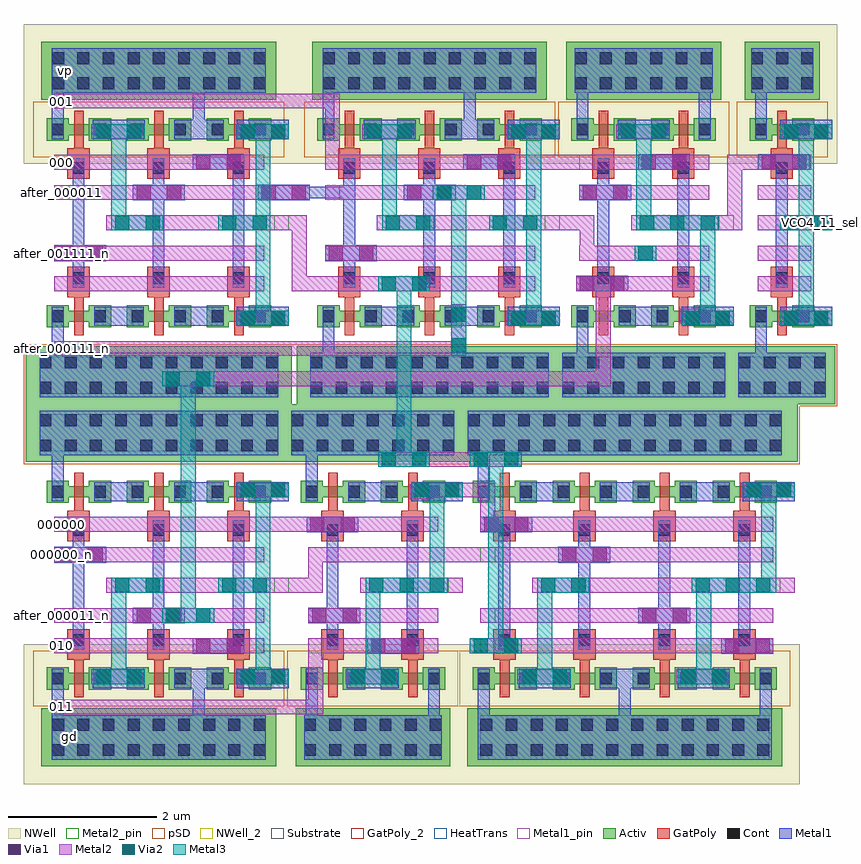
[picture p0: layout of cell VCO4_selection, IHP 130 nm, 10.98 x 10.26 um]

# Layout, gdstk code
from math import pi, radians
import gdstk
lib = gdstk.Library(unit=1e-6, precision=1e-09)
def R(c, l, rs):  # rectangles x0, y0, x1, y1
    for r in rs: c.add(gdstk.rectangle(r[:2], r[2:], *l))
def A(c, l, x, y, w, h, nx, ny, dx, dy):  # array of equal rectangles
    R(c, l, [(x+i*dx, y+j*dy, x+i*dx+w, y+j*dy+h) for i in range(nx) for j in range(ny)])
Activ = (1, 0)
GatPoly = (5, 0)
GatPoly_2 = (5, 2)
Cont = (6, 0)
Metal1 = (8, 0)
Metal1_pin = (8, 2)
Metal2 = (10, 0)
Metal2_pin = (10, 2)
pSD = (14, 0)
Via1 = (19, 0)
Via2 = (29, 0)
Metal3 = (30, 0)
NWell = (31, 0)
NWell_2 = (31, 2)
Substrate = (40, 0)
HeatTrans = (51, 0)

via_4 = lib.new_cell('Via$4')
R(via_4, Metal2, [(-0.1,-0.35,0.1,0.35)])
R(via_4, Via2, [(-0.095,-0.3,0.095,-0.11), (-0.095,0.11,0.095,0.3)])
R(via_4, Metal3, [(-0.1,-0.35,0.1,0.35)])

via_2 = lib.new_cell('Via$2')
R(via_2, Metal1, [(-0.105,-0.35,0.105,0.35)])
R(via_2, Metal2, [(-0.1,-0.35,0.1,0.35)])
R(via_2, Via1, [(-0.095,-0.3,0.095,-0.11), (-0.095,0.11,0.095,0.3)])

ntap1 = lib.new_cell('ntap1')
R(ntap1, Activ, [(0,0,2.09,0.78)])
A(ntap1, Cont, 0.115, 0.14, 0.16, 0.16, 6, 2, 0.34, 0.34)
R(ntap1, Metal1, [(0.115,0.09,1.975,0.69)])
R(ntap1, Metal1_pin, [(0.115,0.09,1.975,0.69), (0.115,0.14,1.975,0.64)])
R(ntap1, NWell, [(-0.24,-0.24,2.33,1.02), (0,0,2.09,0.78)])
R(ntap1, NWell_2, [(0,0,2.09,0.78)])
ntap1.add(gdstk.Label('well', (1.045,0.01), layer=63, texttype=0))
ntap1.add(gdstk.Label('well', (1.045,0.01), layer=31, texttype=0))

ptap1 = lib.new_cell('ptap1')
R(ptap1, Activ, [(0,0,2.51,0.78)])
A(ptap1, Cont, 0.155, 0.14, 0.16, 0.16, 7, 2, 0.34, 0.34)
R(ptap1, Metal1, [(0.155,0.09,2.355,0.69), (0.155,0.14,2.355,0.64)])
R(ptap1, Metal1_pin, [(0.155,0.14,2.355,0.64)])
R(ptap1, pSD, [(-0.03,-0.03,2.54,0.81)])
R(ptap1, Substrate, [(0,0,2.51,0.78)])
ptap1.add(gdstk.Label('sub!', (1.255,0.01), layer=63, texttype=0))
ptap1.add(gdstk.Label('sub!', (1.255,0.01), layer=40, texttype=0))

nmos = lib.new_cell('nmos')
R(nmos, Activ, [(0,0,0.3,0.3), (0.57,0,0.87,0.3), (0,0.075,0.87,0.225)])
R(nmos, GatPoly, [(0.37,-0.105,0.5,0.405)])
R(nmos, GatPoly_2, [(0.37,-0.105,0.5,0.405)])
R(nmos, Cont, [(0.07,0.07,0.23,0.23), (0.64,0.07,0.8,0.23)])
R(nmos, Metal1, [(0.07,0.02,0.23,0.28), (0.64,0.02,0.8,0.28)])
R(nmos, Metal1_pin, [(0.07,0.02,0.23,0.28), (0.64,0.02,0.8,0.28)])
R(nmos, HeatTrans, [(0.37,-0.105,0.5,0.405)])
nmos.add(gdstk.Label('nmos', (0.435,0.15), layer=63, texttype=0))
nmos.add(gdstk.Label('nmos', (0.435,0.15), layer=51, texttype=0))

pmos = lib.new_cell('pmos')
R(pmos, Activ, [(0,0,0.3,0.3), (0.57,0,0.87,0.3), (0,0.075,0.87,0.225)])
R(pmos, GatPoly, [(0.37,-0.105,0.5,0.405), (0.37,-0.105,0.5,0.405)])
R(pmos, Cont, [(0.07,0.07,0.23,0.23), (0.64,0.07,0.8,0.23)])
R(pmos, Metal1, [(0.07,0.02,0.23,0.28), (0.07,0.02,0.23,0.28), (0.64,0.02,0.8,0.28), (0.64,0.02,0.8,0.28)])
R(pmos, pSD, [(-0.18,-0.225,1.05,0.525)])
R(pmos, NWell, [(-0.31,-0.31,1.18,0.61)])
R(pmos, Substrate, [(0.57,0,0.87,0.3)])
R(pmos, HeatTrans, [(0.37,-0.105,0.5,0.405)])
pmos.add(gdstk.Label('pmos', (0.435,0.15), layer=63, texttype=0))
pmos.add(gdstk.Label('pmos', (0.435,0.15), layer=51, texttype=0))

via = lib.new_cell('Via')
R(via, GatPoly, [(-0.15,-0.15,0.15,0.15)])
R(via, Cont, [(-0.08,-0.08,0.08,0.08)])
R(via, Metal1, [(-0.13,-0.08,0.13,0.08)])

via_7 = lib.new_cell('Via$7')
R(via_7, Metal2, [(-0.555,-0.1,0.555,0.1)])
A(via_7, Via2, -0.505, -0.095, 0.19, 0.19, 3, 1, 0.41, 0)
R(via_7, Metal3, [(-0.555,-0.1,0.555,0.1)])

via_6 = lib.new_cell('Via$6')
R(via_6, Metal1, [(-0.35,-0.105,0.35,0.105)])
R(via_6, Metal2, [(-0.35,-0.1,0.35,0.1)])
R(via_6, Via1, [(-0.3,-0.095,-0.11,0.095), (0.11,-0.095,0.3,0.095)])

nand_2in = lib.new_cell('NAND_2in')
R(nand_2in, GatPoly, [(9.375,7.165,9.675,7.275), (10.455,7.165,10.755,7.275), (9.375,9.065,9.675,9.175), (10.455,9.065,10.755,9.175)])
R(nand_2in, Metal1, [(9.735,6.78,10.405,7.04), (10.585,6.78,11.285,7.04), (9.72,9.3,10.42,9.56)])
R(nand_2in, Metal1_pin, [(9.16,6.015,9.36,6.215), (9.325,10.12,9.525,10.32)])
R(nand_2in, Metal2_pin, [(11.085,8.07,11.285,8.27), (9.2,8.48,9.4,8.68), (9.2,8.89,9.4,9.09)])
nand_2in.add(gdstk.FlexPath([(9.245,9.56),(9.245,10.525)], 0.16, ends="flush", simple_path=True, layer=8, datatype=0))  # Metal1
nand_2in.add(gdstk.FlexPath([(10.895,9.56),(10.895,10.525)], 0.16, ends="flush", simple_path=True, layer=8, datatype=0))  # Metal1
nand_2in.add(gdstk.FlexPath([(9.245,6.78),(9.245,6.415)], 0.16, ends="flush", simple_path=True, layer=8, datatype=0))  # Metal1
nand_2in.add(gdstk.FlexPath([(9.525,7.555),(9.525,8.785)], 0.16, ends="flush", simple_path=True, layer=8, datatype=0))  # Metal1
nand_2in.add(gdstk.FlexPath([(10.605,7.555),(10.605,8.785)], 0.16, ends="flush", simple_path=True, layer=8, datatype=0))  # Metal1
nand_2in.add(gdstk.FlexPath([(9.9,8.17),(11.285,8.17)], 0.2, ends="flush", simple_path=True, layer=10, datatype=0))  # Metal2
nand_2in.add(gdstk.FlexPath([(10.895,6.91),(10.565,6.91)], 0.2, ends="flush", simple_path=True, layer=10, datatype=0))  # Metal2
nand_2in.add(gdstk.FlexPath([(9.865,9.405),(9.7,9.405)], 0.2, ends="flush", simple_path=True, layer=10, datatype=0))  # Metal2
nand_2in.add(gdstk.FlexPath([(10.43,8.58),(10.43,8.58)], 0.2, ends="flush", simple_path=True, layer=10, datatype=0))  # Metal2
nand_2in.add(gdstk.FlexPath([(9.2,8.99),(10.955,8.99)], 0.2, ends="flush", simple_path=True, layer=10, datatype=0))  # Metal2
nand_2in.add(gdstk.FlexPath([(9.2,8.58),(10.955,8.58)], 0.2, ends="flush", simple_path=True, layer=10, datatype=0))  # Metal2
nand_2in.add(gdstk.FlexPath([(9.2,7.76),(10.955,7.76)], 0.2, ends="flush", simple_path=True, layer=10, datatype=0))  # Metal2
nand_2in.add(gdstk.FlexPath([(9.2,7.35),(10.955,7.35)], 0.2, ends="flush", simple_path=True, layer=10, datatype=0))  # Metal2
nand_2in.add(gdstk.FlexPath([(10.07,9.305),(10.07,8.07)], 0.2, ends="flush", simple_path=True, layer=30, datatype=0))  # Metal3
nand_2in.add(gdstk.FlexPath([(10.935,6.885),(10.935,8.07)], 0.2, ends="flush", simple_path=True, layer=30, datatype=0))  # Metal3
nand_2in.add(gdstk.Reference(via_4, (10.935,6.885), rotation=3*pi/2))
nand_2in.add(gdstk.Reference(via_2, (10.935,6.885), rotation=3*pi/2))
nand_2in.add(gdstk.Reference(ntap1, (9.025,9.835)))
nand_2in.add(gdstk.Reference(ptap1, (8.815,5.725)))
nand_2in.add(gdstk.Reference(nmos, (10.175,6.76)))
nand_2in.add(gdstk.Reference(pmos, (10.175,9.28)))
nand_2in.add(gdstk.Reference(nmos, (9.095,6.76)))
nand_2in.add(gdstk.Reference(pmos, (9.095,9.28)))
nand_2in.add(gdstk.Reference(via, (9.525,8.915), rotation=pi/2))
nand_2in.add(gdstk.Reference(via, (10.605,8.915), rotation=pi/2))
nand_2in.add(gdstk.Reference(via, (10.605,7.425), rotation=3*pi/2))
nand_2in.add(gdstk.Reference(via, (9.525,7.425), rotation=3*pi/2))
nand_2in.add(gdstk.Reference(via_2, (9.55,8.58), rotation=3*pi/2))
nand_2in.add(gdstk.Reference(via_7, (10.525,8.17)))
nand_2in.add(gdstk.Reference(via_2, (10.07,9.405), rotation=3*pi/2))
nand_2in.add(gdstk.Reference(via_4, (10.07,9.405), rotation=3*pi/2))
nand_2in.add(gdstk.Reference(via_6, (10.345,8.99)))
nand_2in.add(gdstk.Label('y', (11.185,8.17), layer=10, texttype=25))
nand_2in.add(gdstk.Label('b', (9.315,8.575), layer=10, texttype=25))
nand_2in.add(gdstk.Label('a', (9.3,8.99), layer=10, texttype=25))
nand_2in.add(gdstk.Label('VP', (9.295,10.22), layer=8, texttype=25))
nand_2in.add(gdstk.Label('GND', (9.26,6.115), layer=8, texttype=25))

ntap1_1 = lib.new_cell('ntap1$1')
R(ntap1_1, Activ, [(0,0,3.17,0.78)])
A(ntap1_1, Cont, 0.145, 0.14, 0.16, 0.16, 9, 2, 0.34, 0.34)
R(ntap1_1, Metal1, [(0.145,0.09,3.025,0.69)])
R(ntap1_1, Metal1_pin, [(0.145,0.09,3.025,0.69), (0.145,0.14,3.025,0.64)])
R(ntap1_1, NWell, [(-0.24,-0.24,3.41,1.02), (0,0,3.17,0.78)])
R(ntap1_1, NWell_2, [(0,0,3.17,0.78)])
ntap1_1.add(gdstk.Label('well', (1.585,0.01), layer=63, texttype=0))
ntap1_1.add(gdstk.Label('well', (1.585,0.01), layer=31, texttype=0))

ptap1_1 = lib.new_cell('ptap1$1')
R(ptap1_1, Activ, [(0,0,3.59,0.78)])
A(ptap1_1, Cont, 0.185, 0.14, 0.16, 0.16, 10, 2, 0.34, 0.34)
R(ptap1_1, Metal1, [(0.185,0.09,3.405,0.69), (0.185,0.14,3.405,0.64)])
R(ptap1_1, Metal1_pin, [(0.185,0.14,3.405,0.64)])
R(ptap1_1, pSD, [(-0.03,-0.03,3.62,0.81)])
R(ptap1_1, Substrate, [(0,0,3.59,0.78)])
ptap1_1.add(gdstk.Label('sub!', (1.795,0.01), layer=63, texttype=0))
ptap1_1.add(gdstk.Label('sub!', (1.795,0.01), layer=40, texttype=0))

nmos_1 = lib.new_cell('nmos$1')
R(nmos_1, Activ, [(0,0,0.3,0.3), (0.57,0,0.87,0.3), (0,0.075,0.87,0.225)])
R(nmos_1, GatPoly, [(0.37,-0.105,0.5,0.405)])
R(nmos_1, GatPoly_2, [(0.37,-0.105,0.5,0.405)])
R(nmos_1, Cont, [(0.07,0.07,0.23,0.23), (0.64,0.07,0.8,0.23)])
R(nmos_1, Metal1, [(0.07,0.02,0.23,0.28), (0.64,0.02,0.8,0.28)])
R(nmos_1, Metal1_pin, [(0.07,0.02,0.23,0.28), (0.64,0.02,0.8,0.28)])
R(nmos_1, HeatTrans, [(0.37,-0.105,0.5,0.405)])
nmos_1.add(gdstk.Label('nmos', (0.435,0.15), layer=63, texttype=0))
nmos_1.add(gdstk.Label('nmos', (0.435,0.15), layer=51, texttype=0))

pmos_1 = lib.new_cell('pmos$1')
R(pmos_1, Activ, [(0,0,0.3,0.3), (0.57,0,0.87,0.3), (0,0.075,0.87,0.225)])
R(pmos_1, GatPoly, [(0.37,-0.105,0.5,0.405), (0.37,-0.105,0.5,0.405)])
R(pmos_1, Cont, [(0.07,0.07,0.23,0.23), (0.64,0.07,0.8,0.23)])
R(pmos_1, Metal1, [(0.07,0.02,0.23,0.28), (0.07,0.02,0.23,0.28), (0.64,0.02,0.8,0.28), (0.64,0.02,0.8,0.28)])
R(pmos_1, pSD, [(-0.18,-0.225,1.05,0.525)])
R(pmos_1, NWell, [(-0.31,-0.31,1.18,0.61)])
R(pmos_1, Substrate, [(0.57,0,0.87,0.3)])
R(pmos_1, HeatTrans, [(0.37,-0.105,0.5,0.405)])
pmos_1.add(gdstk.Label('pmos', (0.435,0.15), layer=63, texttype=0))
pmos_1.add(gdstk.Label('pmos', (0.435,0.15), layer=51, texttype=0))

via_8 = lib.new_cell('Via$8')
R(via_8, GatPoly, [(-0.15,-0.15,0.15,0.15)])
R(via_8, Cont, [(-0.08,-0.08,0.08,0.08)])
R(via_8, Metal1, [(-0.13,-0.08,0.13,0.08)])

via_2_1 = lib.new_cell('Via$2$1')
R(via_2_1, Metal1, [(-0.105,-0.35,0.105,0.35)])
R(via_2_1, Metal2, [(-0.1,-0.35,0.1,0.35)])
R(via_2_1, Via1, [(-0.095,-0.3,0.095,-0.11), (-0.095,0.11,0.095,0.3)])

via_8_1 = lib.new_cell('Via$8$1')
R(via_8_1, Metal2, [(-0.35,-0.1,0.35,0.1)])
R(via_8_1, Via2, [(-0.3,-0.095,-0.11,0.095), (0.11,-0.095,0.3,0.095)])
R(via_8_1, Metal3, [(-0.35,-0.1,0.35,0.1)])

via_4_1 = lib.new_cell('Via$4$1')
R(via_4_1, Metal2, [(-0.1,-0.35,0.1,0.35)])
R(via_4_1, Via2, [(-0.095,-0.3,0.095,-0.11), (-0.095,0.11,0.095,0.3)])
R(via_4_1, Metal3, [(-0.1,-0.35,0.1,0.35)])

via_6_1 = lib.new_cell('Via$6$1')
R(via_6_1, Metal1, [(-0.35,-0.105,0.35,0.105)])
R(via_6_1, Metal2, [(-0.35,-0.1,0.35,0.1)])
R(via_6_1, Via1, [(-0.3,-0.095,-0.11,0.095), (0.11,-0.095,0.3,0.095)])

nand_3in = lib.new_cell('NAND_3in')
A(nand_3in, GatPoly, 9.375, 7.165, 0.3, 0.11, 3, 2, 1.08, 1.9)
R(nand_3in, Metal1, [(9.735,6.78,10.405,7.04), (10.815,6.78,11.485,7.04), (11.665,6.78,12.365,7.04), (9.72,9.3,10.42,9.56), (10.815,9.3,11.485,9.56), (11.665,9.3,12.365,9.56)])
R(nand_3in, Metal1_pin, [(9.16,6.015,9.36,6.215), (9.325,10.12,9.525,10.32)])
R(nand_3in, Metal2_pin, [(9.2,7.66,9.4,7.86), (12.165,8.07,12.365,8.27), (9.2,8.48,9.4,8.68), (9.2,8.89,9.4,9.09)])
nand_3in.add(gdstk.FlexPath([(11.685,7.555),(11.685,8.785)], 0.16, ends="flush", simple_path=True, layer=8, datatype=0))  # Metal1
nand_3in.add(gdstk.FlexPath([(11.15,9.56),(11.15,9.925)], 0.16, ends="flush", simple_path=True, layer=8, datatype=0))  # Metal1
nand_3in.add(gdstk.FlexPath([(9.245,9.56),(9.245,10.525)], 0.16, ends="flush", simple_path=True, layer=8, datatype=0))  # Metal1
nand_3in.add(gdstk.FlexPath([(9.245,6.78),(9.245,6.415)], 0.16, ends="flush", simple_path=True, layer=8, datatype=0))  # Metal1
nand_3in.add(gdstk.FlexPath([(9.525,7.555),(9.525,8.785)], 0.16, ends="flush", simple_path=True, layer=8, datatype=0))  # Metal1
nand_3in.add(gdstk.FlexPath([(10.605,7.555),(10.605,8.785)], 0.16, ends="flush", simple_path=True, layer=8, datatype=0))  # Metal1
nand_3in.add(gdstk.FlexPath([(9.9,8.17),(12.365,8.17)], 0.2, ends="flush", simple_path=True, layer=10, datatype=0))  # Metal2
nand_3in.add(gdstk.FlexPath([(11.81,9.405),(11.645,9.405)], 0.2, ends="flush", simple_path=True, layer=10, datatype=0))  # Metal2
nand_3in.add(gdstk.FlexPath([(11.81,6.885),(11.645,6.885)], 0.2, ends="flush", simple_path=True, layer=10, datatype=0))  # Metal2
nand_3in.add(gdstk.FlexPath([(9.2,7.76),(12.035,7.76)], 0.2, ends="flush", simple_path=True, layer=10, datatype=0))  # Metal2
nand_3in.add(gdstk.FlexPath([(9.2,7.35),(12.035,7.35)], 0.2, ends="flush", simple_path=True, layer=10, datatype=0))  # Metal2
nand_3in.add(gdstk.FlexPath([(9.2,8.99),(12.035,8.99)], 0.2, ends="flush", simple_path=True, layer=10, datatype=0))  # Metal2
nand_3in.add(gdstk.FlexPath([(9.2,8.58),(12.035,8.58)], 0.2, ends="flush", simple_path=True, layer=10, datatype=0))  # Metal2
nand_3in.add(gdstk.FlexPath([(9.865,9.405),(9.7,9.405)], 0.2, ends="flush", simple_path=True, layer=10, datatype=0))  # Metal2
nand_3in.add(gdstk.FlexPath([(10.43,8.58),(10.43,8.58)], 0.2, ends="flush", simple_path=True, layer=10, datatype=0))  # Metal2
nand_3in.add(gdstk.FlexPath([(12.015,6.885),(12.015,8.17)], 0.2, ends="flush", simple_path=True, layer=30, datatype=0))  # Metal3
nand_3in.add(gdstk.FlexPath([(12.015,9.405),(12.015,8.17)], 0.2, ends="flush", simple_path=True, layer=30, datatype=0))  # Metal3
nand_3in.add(gdstk.FlexPath([(10.07,9.305),(10.07,8.07)], 0.2, ends="flush", simple_path=True, layer=30, datatype=0))  # Metal3
nand_3in.add(gdstk.Reference(ntap1_1, (9.025,9.835)))
nand_3in.add(gdstk.Reference(ptap1_1, (8.815,5.725)))
nand_3in.add(gdstk.Reference(nmos_1, (10.175,6.76)))
nand_3in.add(gdstk.Reference(pmos_1, (10.175,9.28)))
nand_3in.add(gdstk.Reference(nmos_1, (9.095,6.76)))
nand_3in.add(gdstk.Reference(pmos_1, (9.095,9.28)))
nand_3in.add(gdstk.Reference(via_8, (9.525,8.915), rotation=pi/2))
nand_3in.add(gdstk.Reference(via_8, (10.605,8.915), rotation=pi/2))
nand_3in.add(gdstk.Reference(via_8, (10.605,7.425), rotation=3*pi/2))
nand_3in.add(gdstk.Reference(via_8, (9.525,7.425), rotation=3*pi/2))
nand_3in.add(gdstk.Reference(via_2_1, (10.61,8.58), rotation=3*pi/2))
nand_3in.add(gdstk.Reference(via_8_1, (10.32,8.17)))
nand_3in.add(gdstk.Reference(via_2_1, (10.07,9.405), rotation=3*pi/2))
nand_3in.add(gdstk.Reference(via_4_1, (10.07,9.405), rotation=3*pi/2))
nand_3in.add(gdstk.Reference(via_6_1, (11.415,8.99)))
nand_3in.add(gdstk.Reference(pmos_1, (11.255,9.28)))
nand_3in.add(gdstk.Reference(nmos_1, (11.255,6.76)))
nand_3in.add(gdstk.Reference(via_8, (11.685,8.915), rotation=pi/2))
nand_3in.add(gdstk.Reference(via_8, (11.685,7.425), rotation=3*pi/2))
nand_3in.add(gdstk.Reference(via_2_1, (9.55,7.76), rotation=3*pi/2))
nand_3in.add(gdstk.Reference(via_2_1, (12.015,9.405), rotation=3*pi/2))
nand_3in.add(gdstk.Reference(via_4_1, (12.015,9.405), rotation=3*pi/2))
nand_3in.add(gdstk.Reference(via_2_1, (12.015,6.885), rotation=3*pi/2))
nand_3in.add(gdstk.Reference(via_4_1, (12.015,6.885), rotation=3*pi/2))
nand_3in.add(gdstk.Reference(via_8_1, (11.765,8.17)))
nand_3in.add(gdstk.Label('c', (9.315,7.755), layer=10, texttype=25))
nand_3in.add(gdstk.Label('y', (12.265,8.17), layer=10, texttype=25))
nand_3in.add(gdstk.Label('b', (9.315,8.575), layer=10, texttype=25))
nand_3in.add(gdstk.Label('a', (9.3,8.99), layer=10, texttype=25))
nand_3in.add(gdstk.Label('VP', (9.295,10.22), layer=8, texttype=25))
nand_3in.add(gdstk.Label('GND', (9.26,6.115), layer=8, texttype=25))

ntap1_2 = lib.new_cell('ntap1$2')
R(ntap1_2, Activ, [(0,0,4.25,0.78)])
A(ntap1_2, Cont, 0.175, 0.14, 0.16, 0.16, 12, 2, 0.34, 0.34)
R(ntap1_2, Metal1, [(0.175,0.09,4.075,0.69)])
R(ntap1_2, Metal1_pin, [(0.175,0.09,4.075,0.69), (0.175,0.14,4.075,0.64)])
R(ntap1_2, NWell, [(-0.24,-0.24,4.49,1.02), (0,0,4.25,0.78)])
R(ntap1_2, NWell_2, [(0,0,4.25,0.78)])
ntap1_2.add(gdstk.Label('well', (2.125,0.01), layer=63, texttype=0))
ntap1_2.add(gdstk.Label('well', (2.125,0.01), layer=31, texttype=0))

ptap1_2 = lib.new_cell('ptap1$2')
R(ptap1_2, Activ, [(0,0,4.67,0.78)])
A(ptap1_2, Cont, 0.215, 0.14, 0.16, 0.16, 13, 2, 0.34, 0.34)
R(ptap1_2, Metal1, [(0.215,0.09,4.455,0.69), (0.215,0.14,4.455,0.64)])
R(ptap1_2, Metal1_pin, [(0.215,0.14,4.455,0.64)])
R(ptap1_2, pSD, [(-0.03,-0.03,4.7,0.81)])
R(ptap1_2, Substrate, [(0,0,4.67,0.78)])
ptap1_2.add(gdstk.Label('sub!', (2.335,0.01), layer=63, texttype=0))
ptap1_2.add(gdstk.Label('sub!', (2.335,0.01), layer=40, texttype=0))

nmos_2 = lib.new_cell('nmos$2')
R(nmos_2, Activ, [(0,0,0.3,0.3), (0.57,0,0.87,0.3), (0,0.075,0.87,0.225)])
R(nmos_2, GatPoly, [(0.37,-0.105,0.5,0.405)])
R(nmos_2, GatPoly_2, [(0.37,-0.105,0.5,0.405)])
R(nmos_2, Cont, [(0.07,0.07,0.23,0.23), (0.64,0.07,0.8,0.23)])
R(nmos_2, Metal1, [(0.07,0.02,0.23,0.28), (0.64,0.02,0.8,0.28)])
R(nmos_2, Metal1_pin, [(0.07,0.02,0.23,0.28), (0.64,0.02,0.8,0.28)])
R(nmos_2, HeatTrans, [(0.37,-0.105,0.5,0.405)])
nmos_2.add(gdstk.Label('nmos', (0.435,0.15), layer=63, texttype=0))
nmos_2.add(gdstk.Label('nmos', (0.435,0.15), layer=51, texttype=0))

pmos_2 = lib.new_cell('pmos$2')
R(pmos_2, Activ, [(0,0,0.3,0.3), (0.57,0,0.87,0.3), (0,0.075,0.87,0.225)])
R(pmos_2, GatPoly, [(0.37,-0.105,0.5,0.405), (0.37,-0.105,0.5,0.405)])
R(pmos_2, Cont, [(0.07,0.07,0.23,0.23), (0.64,0.07,0.8,0.23)])
R(pmos_2, Metal1, [(0.07,0.02,0.23,0.28), (0.07,0.02,0.23,0.28), (0.64,0.02,0.8,0.28), (0.64,0.02,0.8,0.28)])
R(pmos_2, pSD, [(-0.18,-0.225,1.05,0.525)])
R(pmos_2, NWell, [(-0.31,-0.31,1.18,0.61)])
R(pmos_2, Substrate, [(0.57,0,0.87,0.3)])
R(pmos_2, HeatTrans, [(0.37,-0.105,0.5,0.405)])
pmos_2.add(gdstk.Label('pmos', (0.435,0.15), layer=63, texttype=0))
pmos_2.add(gdstk.Label('pmos', (0.435,0.15), layer=51, texttype=0))

via_9 = lib.new_cell('Via$9')
R(via_9, GatPoly, [(-0.15,-0.15,0.15,0.15)])
R(via_9, Cont, [(-0.08,-0.08,0.08,0.08)])
R(via_9, Metal1, [(-0.13,-0.08,0.13,0.08)])

via_2_2 = lib.new_cell('Via$2$2')
R(via_2_2, Metal1, [(-0.105,-0.35,0.105,0.35)])
R(via_2_2, Metal2, [(-0.1,-0.35,0.1,0.35)])
R(via_2_2, Via1, [(-0.095,-0.3,0.095,-0.11), (-0.095,0.11,0.095,0.3)])

via_8_2 = lib.new_cell('Via$8$2')
R(via_8_2, Metal2, [(-0.35,-0.1,0.35,0.1)])
R(via_8_2, Via2, [(-0.3,-0.095,-0.11,0.095), (0.11,-0.095,0.3,0.095)])
R(via_8_2, Metal3, [(-0.35,-0.1,0.35,0.1)])

via_4_2 = lib.new_cell('Via$4$2')
R(via_4_2, Metal2, [(-0.1,-0.35,0.1,0.35)])
R(via_4_2, Via2, [(-0.095,-0.3,0.095,-0.11), (-0.095,0.11,0.095,0.3)])
R(via_4_2, Metal3, [(-0.1,-0.35,0.1,0.35)])

via_6_2 = lib.new_cell('Via$6$2')
R(via_6_2, Metal1, [(-0.35,-0.105,0.35,0.105)])
R(via_6_2, Metal2, [(-0.35,-0.1,0.35,0.1)])
R(via_6_2, Via1, [(-0.3,-0.095,-0.11,0.095), (0.11,-0.095,0.3,0.095)])

via_9_1 = lib.new_cell('Via$9$1')
R(via_9_1, Metal2, [(-0.555,-0.1,0.555,0.1)])
A(via_9_1, Via2, -0.505, -0.095, 0.19, 0.19, 3, 1, 0.41, 0)
R(via_9_1, Metal3, [(-0.555,-0.1,0.555,0.1)])

nand_4in = lib.new_cell('NAND_4in')
A(nand_4in, GatPoly, 9.375, 7.165, 0.3, 0.11, 4, 2, 1.08, 1.9)
A(nand_4in, Metal1, 9.735, 6.78, 0.67, 0.26, 3, 1, 1.08, 0)
R(nand_4in, Metal1, [(12.745,6.78,13.445,7.04), (9.72,9.3,10.42,9.56), (10.815,9.3,11.485,9.56), (11.865,9.3,12.565,9.56)])
R(nand_4in, Metal1_pin, [(9.16,6.015,9.36,6.215), (9.325,10.12,9.525,10.32)])
R(nand_4in, Metal2_pin, [(9.2,7.25,9.4,7.45), (9.2,7.66,9.4,7.86), (13.245,8.07,13.445,8.27), (9.2,8.48,9.4,8.68), (9.2,8.89,9.4,9.09)])
nand_4in.add(gdstk.FlexPath([(13.055,9.56),(13.055,10.525)], 0.16, ends="flush", simple_path=True, layer=8, datatype=0))  # Metal1
nand_4in.add(gdstk.FlexPath([(12.765,7.555),(12.765,8.785)], 0.16, ends="flush", simple_path=True, layer=8, datatype=0))  # Metal1
nand_4in.add(gdstk.FlexPath([(11.685,7.555),(11.685,8.785)], 0.16, ends="flush", simple_path=True, layer=8, datatype=0))  # Metal1
nand_4in.add(gdstk.FlexPath([(11.15,9.56),(11.15,9.925)], 0.16, ends="flush", simple_path=True, layer=8, datatype=0))  # Metal1
nand_4in.add(gdstk.FlexPath([(9.245,9.56),(9.245,10.525)], 0.16, ends="flush", simple_path=True, layer=8, datatype=0))  # Metal1
nand_4in.add(gdstk.FlexPath([(9.245,6.78),(9.245,6.415)], 0.16, ends="flush", simple_path=True, layer=8, datatype=0))  # Metal1
nand_4in.add(gdstk.FlexPath([(9.525,7.555),(9.525,8.785)], 0.16, ends="flush", simple_path=True, layer=8, datatype=0))  # Metal1
nand_4in.add(gdstk.FlexPath([(10.605,7.555),(10.605,8.785)], 0.16, ends="flush", simple_path=True, layer=8, datatype=0))  # Metal1
nand_4in.add(gdstk.FlexPath([(9.9,8.17),(13.445,8.17)], 0.2, ends="flush", simple_path=True, layer=10, datatype=0))  # Metal2
nand_4in.add(gdstk.FlexPath([(12.89,6.885),(12.725,6.885)], 0.2, ends="flush", simple_path=True, layer=10, datatype=0))  # Metal2
nand_4in.add(gdstk.FlexPath([(12.01,9.405),(11.845,9.405)], 0.2, ends="flush", simple_path=True, layer=10, datatype=0))  # Metal2
nand_4in.add(gdstk.FlexPath([(9.2,7.76),(13.155,7.76)], 0.2, ends="flush", simple_path=True, layer=10, datatype=0))  # Metal2
nand_4in.add(gdstk.FlexPath([(9.2,7.35),(13.155,7.35)], 0.2, ends="flush", simple_path=True, layer=10, datatype=0))  # Metal2
nand_4in.add(gdstk.FlexPath([(9.2,8.99),(13.155,8.99)], 0.2, ends="flush", simple_path=True, layer=10, datatype=0))  # Metal2
nand_4in.add(gdstk.FlexPath([(9.2,8.58),(13.155,8.58)], 0.2, ends="flush", simple_path=True, layer=10, datatype=0))  # Metal2
nand_4in.add(gdstk.FlexPath([(9.865,9.405),(9.7,9.405)], 0.2, ends="flush", simple_path=True, layer=10, datatype=0))  # Metal2
nand_4in.add(gdstk.FlexPath([(10.43,8.58),(10.43,8.58)], 0.2, ends="flush", simple_path=True, layer=10, datatype=0))  # Metal2
nand_4in.add(gdstk.FlexPath([(12.215,9.405),(12.215,8.07)], 0.2, ends="flush", simple_path=True, layer=30, datatype=0))  # Metal3
nand_4in.add(gdstk.FlexPath([(13.095,6.885),(13.095,8.27)], 0.2, ends="flush", simple_path=True, layer=30, datatype=0))  # Metal3
nand_4in.add(gdstk.FlexPath([(10.07,9.305),(10.07,8.07)], 0.2, ends="flush", simple_path=True, layer=30, datatype=0))  # Metal3
nand_4in.add(gdstk.Reference(ntap1_2, (9.025,9.835)))
nand_4in.add(gdstk.Reference(ptap1_2, (8.815,5.725)))
nand_4in.add(gdstk.Reference(nmos_2, (10.175,6.76)))
nand_4in.add(gdstk.Reference(pmos_2, (10.175,9.28)))
nand_4in.add(gdstk.Reference(nmos_2, (9.095,6.76)))
nand_4in.add(gdstk.Reference(pmos_2, (9.095,9.28)))
nand_4in.add(gdstk.Reference(via_9, (9.525,8.915), rotation=pi/2))
nand_4in.add(gdstk.Reference(via_9, (10.605,8.915), rotation=pi/2))
nand_4in.add(gdstk.Reference(via_9, (10.605,7.425), rotation=3*pi/2))
nand_4in.add(gdstk.Reference(via_9, (9.525,7.425), rotation=3*pi/2))
nand_4in.add(gdstk.Reference(via_2_2, (11.685,8.58), rotation=3*pi/2))
nand_4in.add(gdstk.Reference(via_8_2, (10.32,8.17)))
nand_4in.add(gdstk.Reference(via_2_2, (10.07,9.405), rotation=3*pi/2))
nand_4in.add(gdstk.Reference(via_4_2, (10.07,9.405), rotation=3*pi/2))
nand_4in.add(gdstk.Reference(via_6_2, (12.805,8.99)))
nand_4in.add(gdstk.Reference(pmos_2, (11.255,9.28)))
nand_4in.add(gdstk.Reference(nmos_2, (11.255,6.76)))
nand_4in.add(gdstk.Reference(via_9, (11.685,8.915), rotation=pi/2))
nand_4in.add(gdstk.Reference(via_9, (11.685,7.425), rotation=3*pi/2))
nand_4in.add(gdstk.Reference(via_2_2, (10.605,7.76), rotation=3*pi/2))
nand_4in.add(gdstk.Reference(via_2_2, (12.215,9.405), rotation=3*pi/2))
nand_4in.add(gdstk.Reference(via_4_2, (12.215,9.405), rotation=3*pi/2))
nand_4in.add(gdstk.Reference(via_2_2, (13.095,6.885), rotation=3*pi/2))
nand_4in.add(gdstk.Reference(via_4_2, (13.095,6.885), rotation=3*pi/2))
nand_4in.add(gdstk.Reference(via_9_1, (12.61,8.17)))
nand_4in.add(gdstk.Reference(via_2_2, (9.55,7.35), rotation=3*pi/2))
nand_4in.add(gdstk.Reference(pmos_2, (12.335,9.28)))
nand_4in.add(gdstk.Reference(nmos_2, (12.335,6.76)))
nand_4in.add(gdstk.Reference(via_9, (12.765,8.915), rotation=pi/2))
nand_4in.add(gdstk.Reference(via_9, (12.765,7.425), rotation=3*pi/2))
nand_4in.add(gdstk.Label('d', (9.315,7.345), layer=10, texttype=25))
nand_4in.add(gdstk.Label('y', (13.345,8.17), layer=10, texttype=25))
nand_4in.add(gdstk.Label('c', (9.315,7.755), layer=10, texttype=25))
nand_4in.add(gdstk.Label('b', (9.315,8.575), layer=10, texttype=25))
nand_4in.add(gdstk.Label('a', (9.3,8.99), layer=10, texttype=25))
nand_4in.add(gdstk.Label('VP', (9.295,10.22), layer=8, texttype=25))
nand_4in.add(gdstk.Label('GND', (9.26,6.115), layer=8, texttype=25))

via_4_3 = lib.new_cell('Via$4$3')
R(via_4_3, Metal2, [(-0.1,-0.35,0.1,0.35)])
R(via_4_3, Via2, [(-0.095,-0.3,0.095,-0.11), (-0.095,0.11,0.095,0.3)])
R(via_4_3, Metal3, [(-0.1,-0.35,0.1,0.35)])

ntap1_3 = lib.new_cell('ntap1$3')
R(ntap1_3, Activ, [(0,0,1.01,0.78)])
A(ntap1_3, Cont, 0.085, 0.14, 0.16, 0.16, 3, 2, 0.34, 0.34)
R(ntap1_3, Metal1, [(0.085,0.09,0.925,0.69)])
R(ntap1_3, Metal1_pin, [(0.085,0.09,0.925,0.69), (0.085,0.14,0.925,0.64)])
R(ntap1_3, NWell, [(-0.24,-0.24,1.25,1.02), (0,0,1.01,0.78)])
R(ntap1_3, NWell_2, [(0,0,1.01,0.78)])
ntap1_3.add(gdstk.Label('well', (0.505,0.01), layer=63, texttype=0))
ntap1_3.add(gdstk.Label('well', (0.505,0.01), layer=31, texttype=0))

ptap1_3 = lib.new_cell('ptap1$3')
R(ptap1_3, Activ, [(0,0,1.43,0.78)])
A(ptap1_3, Cont, 0.125, 0.14, 0.16, 0.16, 4, 2, 0.34, 0.34)
R(ptap1_3, Metal1, [(0.125,0.09,1.305,0.69), (0.125,0.14,1.305,0.64)])
R(ptap1_3, Metal1_pin, [(0.125,0.14,1.305,0.64)])
R(ptap1_3, pSD, [(-0.03,-0.03,1.46,0.81)])
R(ptap1_3, Substrate, [(0,0,1.43,0.78)])
ptap1_3.add(gdstk.Label('sub!', (0.715,0.01), layer=63, texttype=0))
ptap1_3.add(gdstk.Label('sub!', (0.715,0.01), layer=40, texttype=0))

via_2_3 = lib.new_cell('Via$2$3')
R(via_2_3, Metal1, [(-0.105,-0.35,0.105,0.35)])
R(via_2_3, Metal2, [(-0.1,-0.35,0.1,0.35)])
R(via_2_3, Via1, [(-0.095,-0.3,0.095,-0.11), (-0.095,0.11,0.095,0.3)])

nmos_3 = lib.new_cell('nmos$3')
R(nmos_3, Activ, [(0,0,0.3,0.3), (0.57,0,0.87,0.3), (0,0.075,0.87,0.225)])
R(nmos_3, GatPoly, [(0.37,-0.105,0.5,0.405)])
R(nmos_3, GatPoly_2, [(0.37,-0.105,0.5,0.405)])
R(nmos_3, Cont, [(0.07,0.07,0.23,0.23), (0.64,0.07,0.8,0.23)])
R(nmos_3, Metal1, [(0.07,0.02,0.23,0.28), (0.64,0.02,0.8,0.28)])
R(nmos_3, Metal1_pin, [(0.07,0.02,0.23,0.28), (0.64,0.02,0.8,0.28)])
R(nmos_3, HeatTrans, [(0.37,-0.105,0.5,0.405)])
nmos_3.add(gdstk.Label('nmos', (0.435,0.15), layer=63, texttype=0))
nmos_3.add(gdstk.Label('nmos', (0.435,0.15), layer=51, texttype=0))

pmos_3 = lib.new_cell('pmos$3')
R(pmos_3, Activ, [(0,0,0.3,0.3), (0.57,0,0.87,0.3), (0,0.075,0.87,0.225)])
R(pmos_3, GatPoly, [(0.37,-0.105,0.5,0.405), (0.37,-0.105,0.5,0.405)])
R(pmos_3, Cont, [(0.07,0.07,0.23,0.23), (0.64,0.07,0.8,0.23)])
R(pmos_3, Metal1, [(0.07,0.02,0.23,0.28), (0.07,0.02,0.23,0.28), (0.64,0.02,0.8,0.28), (0.64,0.02,0.8,0.28)])
R(pmos_3, pSD, [(-0.18,-0.225,1.05,0.525)])
R(pmos_3, NWell, [(-0.31,-0.31,1.18,0.61)])
R(pmos_3, Substrate, [(0.57,0,0.87,0.3)])
R(pmos_3, HeatTrans, [(0.37,-0.105,0.5,0.405)])
pmos_3.add(gdstk.Label('pmos', (0.435,0.15), layer=63, texttype=0))
pmos_3.add(gdstk.Label('pmos', (0.435,0.15), layer=51, texttype=0))

via_10 = lib.new_cell('Via$10')
R(via_10, GatPoly, [(-0.15,-0.15,0.15,0.15)])
R(via_10, Cont, [(-0.08,-0.08,0.08,0.08)])
R(via_10, Metal1, [(-0.13,-0.08,0.13,0.08)])

via_7_1 = lib.new_cell('Via$7$1')
R(via_7_1, Metal2, [(-0.35,-0.1,0.35,0.1)])
R(via_7_1, Via2, [(-0.3,-0.095,-0.11,0.095), (0.11,-0.095,0.3,0.095)])
R(via_7_1, Metal3, [(-0.35,-0.1,0.35,0.1)])

inverter = lib.new_cell('inverter')
R(inverter, GatPoly, [(9.375,7.165,9.675,7.275), (9.375,9.065,9.675,9.175)])
R(inverter, Metal1, [(9.505,6.78,10.205,7.04), (9.505,9.3,10.205,9.56)])
R(inverter, Metal1_pin, [(9.16,6.015,9.36,6.215), (9.325,10.12,9.525,10.32)])
R(inverter, Metal2_pin, [(10.005,8.07,10.205,8.27), (9.2,8.89,9.4,9.09)])
inverter.add(gdstk.FlexPath([(9.245,9.56),(9.245,10.525)], 0.16, ends="flush", simple_path=True, layer=8, datatype=0))  # Metal1
inverter.add(gdstk.FlexPath([(9.245,6.78),(9.245,6.415)], 0.16, ends="flush", simple_path=True, layer=8, datatype=0))  # Metal1
inverter.add(gdstk.FlexPath([(9.525,7.555),(9.525,8.785)], 0.16, ends="flush", simple_path=True, layer=8, datatype=0))  # Metal1
inverter.add(gdstk.FlexPath([(9.65,9.405),(9.485,9.405)], 0.2, ends="flush", simple_path=True, layer=10, datatype=0))  # Metal2
inverter.add(gdstk.FlexPath([(9.65,6.885),(9.485,6.885)], 0.2, ends="flush", simple_path=True, layer=10, datatype=0))  # Metal2
inverter.add(gdstk.FlexPath([(9.2,8.99),(9.92,8.99)], 0.2, ends="flush", simple_path=True, layer=10, datatype=0))  # Metal2
inverter.add(gdstk.FlexPath([(9.2,8.58),(9.92,8.58)], 0.2, ends="flush", simple_path=True, layer=10, datatype=0))  # Metal2
inverter.add(gdstk.FlexPath([(9.2,7.76),(9.92,7.76)], 0.2, ends="flush", simple_path=True, layer=10, datatype=0))  # Metal2
inverter.add(gdstk.FlexPath([(9.2,7.35),(9.92,7.35)], 0.2, ends="flush", simple_path=True, layer=10, datatype=0))  # Metal2
inverter.add(gdstk.FlexPath([(9.2,8.17),(10.205,8.17)], 0.2, ends="flush", simple_path=True, layer=10, datatype=0))  # Metal2
inverter.add(gdstk.FlexPath([(9.855,6.885),(9.855,8.17)], 0.2, ends="flush", simple_path=True, layer=30, datatype=0))  # Metal3
inverter.add(gdstk.FlexPath([(9.855,9.405),(9.855,8.17)], 0.2, ends="flush", simple_path=True, layer=30, datatype=0))  # Metal3
inverter.add(gdstk.Reference(via_4_3, (9.855,6.885), rotation=3*pi/2))
inverter.add(gdstk.Reference(ntap1_3, (9.025,9.835)))
inverter.add(gdstk.Reference(ptap1_3, (8.815,5.725)))
inverter.add(gdstk.Reference(via_2_3, (9.855,6.885), rotation=3*pi/2))
inverter.add(gdstk.Reference(nmos_3, (9.095,6.76)))
inverter.add(gdstk.Reference(pmos_3, (9.095,9.28)))
inverter.add(gdstk.Reference(via_10, (9.525,8.915), rotation=pi/2))
inverter.add(gdstk.Reference(via_10, (9.525,7.425), rotation=3*pi/2))
inverter.add(gdstk.Reference(via_4_3, (9.855,9.405), rotation=3*pi/2))
inverter.add(gdstk.Reference(via_2_3, (9.555,8.99), rotation=3*pi/2))
inverter.add(gdstk.Reference(via_2_3, (9.855,9.405), rotation=3*pi/2))
inverter.add(gdstk.Reference(via_7_1, (9.855,8.17)))
inverter.add(gdstk.Label('out', (10.105,8.17), layer=10, texttype=25))
inverter.add(gdstk.Label('in', (9.3,8.99), layer=10, texttype=25))
inverter.add(gdstk.Label('VP', (9.295,10.22), layer=8, texttype=25))
inverter.add(gdstk.Label('GND', (9.26,6.115), layer=8, texttype=25))

via_11 = lib.new_cell('Via$11')
R(via_11, Metal1, [(-0.35,-0.105,0.35,0.105)])
R(via_11, Metal2, [(-0.35,-0.1,0.35,0.1)])
R(via_11, Via1, [(-0.3,-0.095,-0.11,0.095), (0.11,-0.095,0.3,0.095)])

via_12 = lib.new_cell('Via$12')
R(via_12, Metal2, [(-0.35,-0.1,0.35,0.1)])
R(via_12, Via2, [(-0.3,-0.095,-0.11,0.095), (0.11,-0.095,0.3,0.095)])
R(via_12, Metal3, [(-0.35,-0.1,0.35,0.1)])

via_13 = lib.new_cell('Via$13')
R(via_13, Metal2, [(-0.35,-0.1,0.35,0.1)])
R(via_13, Via2, [(-0.3,-0.095,-0.11,0.095), (0.11,-0.095,0.3,0.095)])
R(via_13, Metal3, [(-0.35,-0.1,0.35,0.1)])

via_15 = lib.new_cell('Via$15')
R(via_15, Metal2, [(-0.35,-0.1,0.35,0.1)])
R(via_15, Via2, [(-0.3,-0.095,-0.11,0.095), (0.11,-0.095,0.3,0.095)])
R(via_15, Metal3, [(-0.35,-0.1,0.35,0.1)])

via_17 = lib.new_cell('Via$17')
R(via_17, Metal1, [(-0.35,-0.105,0.35,0.105)])
R(via_17, Metal2, [(-0.35,-0.1,0.35,0.1)])
R(via_17, Via1, [(-0.3,-0.095,-0.11,0.095), (0.11,-0.095,0.3,0.095)])

via_16 = lib.new_cell('Via$16')
R(via_16, Metal2, [(-0.35,-0.1,0.35,0.1)])
R(via_16, Via2, [(-0.3,-0.095,-0.11,0.095), (0.11,-0.095,0.3,0.095)])
R(via_16, Metal3, [(-0.35,-0.1,0.35,0.1)])

via_19 = lib.new_cell('Via$19')
R(via_19, Metal2, [(-0.35,-0.1,0.35,0.1)])
R(via_19, Via2, [(-0.3,-0.095,-0.11,0.095), (0.11,-0.095,0.3,0.095)])
R(via_19, Metal3, [(-0.35,-0.1,0.35,0.1)])

via_18 = lib.new_cell('Via$18')
R(via_18, Metal2, [(-0.145,-0.1,0.145,0.1)])
R(via_18, Via2, [(-0.095,-0.095,0.095,0.095)])
R(via_18, Metal3, [(-0.145,-0.1,0.145,0.1)])

vco4_selection = lib.new_cell('VCO4_selection')
R(vco4_selection, Metal1_pin, [(18.195,23.975,18.395,24.175), (18.14,32.97,18.34,33.17)])
R(vco4_selection, Metal2_pin, [(18.095,24.38,18.295,24.58), (18.095,25.205,18.295,25.405), (18.095,25.615,18.295,25.815), (18.095,26.435,18.295,26.635), (18.095,26.845,18.295,27.045), (18.095,29.22,18.295,29.42), (18.095,30.505,18.295,30.705), (28.395,30.915,28.595,31.115), (18.095,31.325,18.295,31.525), (18.095,31.735,18.295,31.935), (18.09,32.56,18.29,32.76)])
vco4_selection.add(gdstk.FlexPath([(21.395,31.425),(22.07,31.425)], 0.16, ends="flush", simple_path=True, layer=8, datatype=0))  # Metal1
vco4_selection.add(gdstk.FlexPath([(20.87,31.425),(20.87,31.425)], 0.2, ends="flush", simple_path=True, layer=10, datatype=0))  # Metal2
vco4_selection.add(gdstk.FlexPath([(21.85,31.835),(21.85,32.66),(20.545,32.66)], 0.2, ends="flush", simple_path=True, layer=10, datatype=0))  # Metal2
vco4_selection.add(gdstk.FlexPath([(20.555,32.66),(18.09,32.66)], 0.2, ends="flush", simple_path=True, layer=10, datatype=0))  # Metal2
vco4_selection.add(gdstk.FlexPath([(21.16,31.015),(21.4,31.015),(21.4,30.195),(21.89,30.195)], 0.2, ends="flush", simple_path=True, layer=10, datatype=0))  # Metal2
vco4_selection.add(gdstk.FlexPath([(23.13,29.32),(18.1,29.32)], 0.2, ends="flush", simple_path=True, layer=10, datatype=0))  # Metal2
vco4_selection.add(gdstk.FlexPath([(23.555,29.32),(23.09,29.32)], 0.2, ends="flush", simple_path=True, layer=10, datatype=0))  # Metal2
vco4_selection.add(gdstk.FlexPath([(23.555,31.425),(23.555,31.425)], 0.2, ends="flush", simple_path=True, layer=10, datatype=0))  # Metal2
vco4_selection.add(gdstk.FlexPath([(24.42,31.835),(25.31,31.835)], 0.2, ends="flush", simple_path=True, layer=10, datatype=0))  # Metal2
vco4_selection.add(gdstk.FlexPath([(19.9,25.715),(19.9,25.715)], 0.2, ends="flush", simple_path=True, layer=10, datatype=0))  # Metal2
vco4_selection.add(gdstk.FlexPath([(25.49,30.195),(25.49,30.195)], 0.2, ends="flush", simple_path=True, layer=10, datatype=0))  # Metal2
vco4_selection.add(gdstk.FlexPath([(25.49,30.195),(25.49,30.195)], 0.2, ends="flush", simple_path=True, layer=10, datatype=0))  # Metal2
vco4_selection.add(gdstk.FlexPath([(25.505,30.19),(25.505,28.91),(21.115,28.91)], 0.2, ends="flush", simple_path=True, layer=10, datatype=0))  # Metal2
vco4_selection.add(gdstk.FlexPath([(21.14,28.91),(19.9,28.91)], 0.2, ends="flush", simple_path=True, layer=10, datatype=0))  # Metal2
vco4_selection.add(gdstk.FlexPath([(27.14,31.015),(27.28,31.015),(27.28,31.835),(27.715,31.835)], 0.2, ends="flush", simple_path=True, layer=10, datatype=0))  # Metal2
vco4_selection.add(gdstk.FlexPath([(21.16,26.125),(21.62,26.125),(21.62,26.635)], 0.2, ends="flush", simple_path=True, layer=10, datatype=0))  # Metal2
vco4_selection.add(gdstk.FlexPath([(21.625,25.305),(21.625,24.48),(20.58,24.48)], 0.2, ends="flush", simple_path=True, layer=10, datatype=0))  # Metal2
vco4_selection.add(gdstk.FlexPath([(20.615,24.48),(18.095,24.48)], 0.2, ends="flush", simple_path=True, layer=10, datatype=0))  # Metal2
vco4_selection.add(gdstk.FlexPath([(20.26,26.945),(21.635,26.945)], 0.2, ends="flush", simple_path=True, layer=10, datatype=0))  # Metal2
vco4_selection.add(gdstk.FlexPath([(21.85,26.945),(21.85,26.945)], 0.2, ends="flush", simple_path=True, layer=10, datatype=0))  # Metal2
vco4_selection.add(gdstk.FlexPath([(23.465,27.41),(23.945,27.41),(23.945,26.845)], 0.2, ends="flush", simple_path=True, layer=10, datatype=0))  # Metal2
vco4_selection.add(gdstk.FlexPath([(23.125,26.535),(23.915,26.535)], 0.2, ends="flush", simple_path=True, layer=10, datatype=0))  # Metal2
vco4_selection.add(gdstk.FlexPath([(24.815,31.015),(25.285,31.015),(25.285,30.505)], 0.2, ends="flush", simple_path=True, layer=10, datatype=0))  # Metal2
vco4_selection.add(gdstk.FlexPath([(23.945,25.305),(23.945,25.305)], 0.2, ends="flush", simple_path=True, layer=10, datatype=0))  # Metal2
vco4_selection.add(gdstk.FlexPath([(24.055,27.82),(22.815,27.82)], 0.2, ends="flush", simple_path=True, layer=10, datatype=0))  # Metal2
vco4_selection.add(gdstk.FlexPath([(26.075,30.605),(26.075,30.605)], 0.2, ends="flush", simple_path=True, layer=10, datatype=0))  # Metal2
vco4_selection.add(gdstk.FlexPath([(23.555,31.425),(23.555,29.425)], 0.2, ends="flush", simple_path=True, layer=30, datatype=0))  # Metal3
vco4_selection.add(gdstk.FlexPath([(19.9,25.715),(19.9,28.91)], 0.2, ends="flush", simple_path=True, layer=30, datatype=0))  # Metal3
vco4_selection.add(gdstk.FlexPath([(24.055,25.305),(24.055,27.705)], 0.2, ends="flush", simple_path=True, layer=30, datatype=0))  # Metal3
vco4_selection.add(gdstk.FlexPath([(24.055,27.62),(24.055,27.835)], 0.2, ends="flush", simple_path=True, layer=30, datatype=0))  # Metal3
vco4_selection.add(gdstk.FlexPath([(22.815,27.82),(22.815,30.195)], 0.2, ends="flush", simple_path=True, layer=30, datatype=0))  # Metal3
vco4_selection.add(gdstk.Reference(nand_2in, (12.325,34.295), x_reflection=True))
vco4_selection.add(gdstk.Reference(nand_3in, (12.55,22.845)))
vco4_selection.add(gdstk.Reference(nand_4in, (14.645,34.295), x_reflection=True))
vco4_selection.add(gdstk.Reference(inverter, (18.39,22.845)))
vco4_selection.add(gdstk.Reference(nand_3in, (8.895,22.845)))
vco4_selection.add(gdstk.Reference(nand_3in, (8.895,34.295), x_reflection=True))
vco4_selection.add(gdstk.Reference(nand_2in, (15.98,22.845)))
vco4_selection.add(gdstk.Reference(via_11, (21.19,31.425)))
vco4_selection.add(gdstk.Reference(via_12, (23.555,29.57), rotation=3*pi/2))
vco4_selection.add(gdstk.Reference(via_13, (23.555,31.425)))
vco4_selection.add(gdstk.Reference(via_15, (19.9,25.715)))
vco4_selection.add(gdstk.Reference(via_13, (19.9,28.91)))
vco4_selection.add(gdstk.Reference(via_17, (25.49,30.195)))
vco4_selection.add(gdstk.Reference(via_17, (21.85,26.945)))
vco4_selection.add(gdstk.Reference(via_16, (24.055,25.305)))
vco4_selection.add(gdstk.Reference(via_13, (24.055,27.82)))
vco4_selection.add(gdstk.Reference(via_19, (22.815,27.82)))
vco4_selection.add(gdstk.Reference(via_12, (22.815,30.195)))
vco4_selection.add(gdstk.Reference(via_18, (26.075,30.605)))
vco4_selection.add(gdstk.Label('after_000011', (18.195,31.425), layer=10, texttype=25))
vco4_selection.add(gdstk.Label('000', (18.195,31.835), layer=10, texttype=25))
vco4_selection.add(gdstk.Label('after_001111_n', (18.195,30.605), layer=10, texttype=25))
vco4_selection.add(gdstk.Label('001', (18.19,32.66), layer=10, texttype=25))
vco4_selection.add(gdstk.Label('after_000111_n', (18.195,29.32), layer=10, texttype=25))
vco4_selection.add(gdstk.Label('010', (18.195,25.305), layer=10, texttype=25))
vco4_selection.add(gdstk.Label('after_000011_n', (18.195,25.715), layer=10, texttype=25))
vco4_selection.add(gdstk.Label('000000_n', (18.195,26.535), layer=10, texttype=25))
vco4_selection.add(gdstk.Label('000000', (18.195,26.945), layer=10, texttype=25))
vco4_selection.add(gdstk.Label('011', (18.195,24.48), layer=10, texttype=25))
vco4_selection.add(gdstk.Label('VCO4_11_sel', (28.495,31.015), layer=10, texttype=25))
vco4_selection.add(gdstk.Label('vp', (18.24,33.07), layer=8, texttype=25))
vco4_selection.add(gdstk.Label('gd', (18.295,24.075), layer=8, texttype=25))

lib.write_gds('VCO4_selection.gds')
